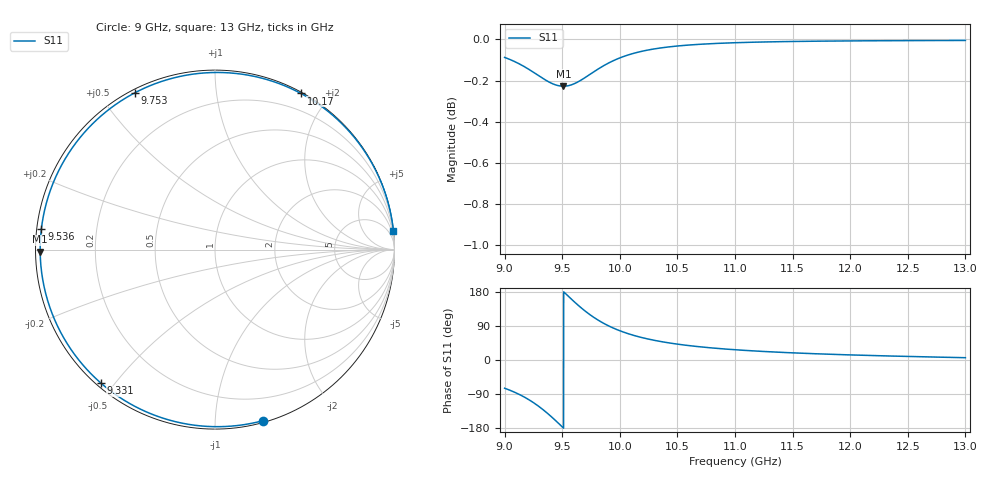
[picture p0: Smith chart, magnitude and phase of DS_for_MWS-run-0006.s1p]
! TOUCHSTONE file generated by CST DESIGN STUDIO
! Date and time: Tue Feb  4 14:14:36 2025
! Project name: C:\Work\MatlabApps\UnitCellOptimizationMatlab\CST\unitcell.cst
! Tree item: Tasks\Sweep1\SPara1\S-Parameters
! Header version: 2024
! Port assignment regex: !\s*Touchstone port\s*([0-9]+)\s*=\s*(CST MWS port|CST DES external port|CST DES block port)\s*(.+)\s* \(\"(.*)\"\)(\s*mode\s*([0-9]+))?.*
! Touchstone port assignment:
! Touchstone port 1 = CST DES external port 1 ("")
# GHz S MA R 50
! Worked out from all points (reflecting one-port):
!   4001 points, 9 GHz to 13 GHz, reference 50 ohm
!   lowest |S11| = -0.2 dB at 9.51 GHz (marker M1), VSWR 76.28, Z = 0.656 - j0.318 ohm
!   phase of S11 starts at -74 deg and turns -279 deg over the sweep
!   S11 on the Smith chart (normalised r, x): 9 GHz: 0.01, -1.32; 9.331 GHz: 0.01, -0.46; 9.536 GHz: 0.01, +0.06; 9.753 GHz: 0.01, +0.61; 10.17 GHz: 0.01, +1.69; 13 GHz: 0, +19
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9  0.99 -74.5
9.089  0.9876 -85.4
9.192  0.9841 -101.4
9.265  0.9812 -115.5
9.331  0.9784 -130.4
9.377  0.9767 -141.9
9.424  0.9753 -154.6
9.463  0.9745 -165.6
9.5  0.9741 -176.4
9.51  0.9741 -179.3
9.536  0.9742 173.2
9.59  0.9751 157.7
9.65  0.9769 141.4
9.701  0.9789 128.7
9.753  0.9811 117.0
9.804  0.9832 106.7
9.86  0.9854 96.8
10  0.9897 77.2
10.08  0.9915 68.7
10.166  0.993 61.2
10.318  0.9949 50.8
10.5  0.9963 41.9
10.722  0.9974 34.0
11  0.9981 27.1
11.5  0.9988 18.9
12  0.9991 13.4
12.5  0.9993 9.4
13  0.9994 6.1
